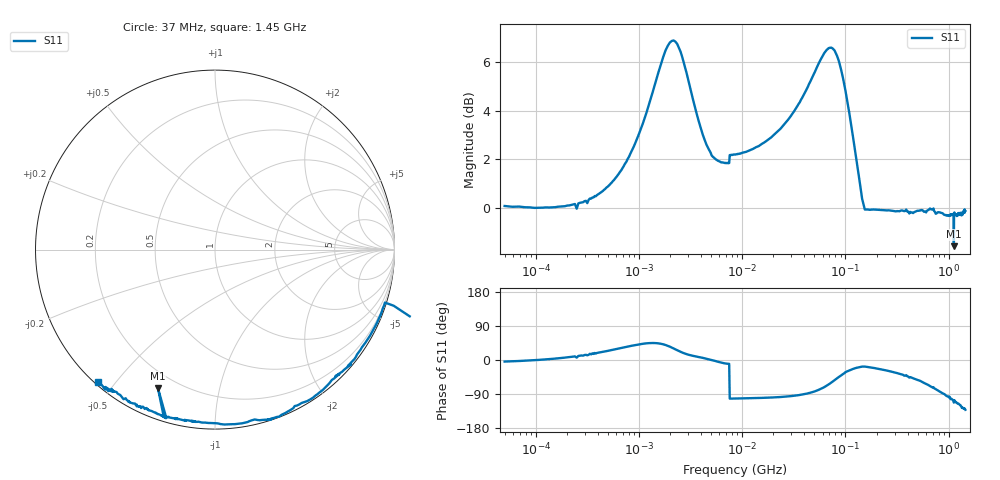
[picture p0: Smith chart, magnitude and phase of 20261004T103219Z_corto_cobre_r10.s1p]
! piloto_corto / corto_cobre / r10
# HZ S RI R 50
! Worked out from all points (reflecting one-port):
!   501 points, 50 kHz to 1.45 GHz, reference 50 ohm
!   lowest |S11| = -1.6 dB at 1.121 GHz (marker M1), VSWR 11.03, Z = 6.54 - j33.1 ohm
!   phase of S11 starts at -4 deg and turns -127 deg over the sweep
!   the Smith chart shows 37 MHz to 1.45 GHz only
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50000  1.006 -0.0719
183000  1.002 0.0995
306500  1.004 0.2444
658000  1.015 0.6134
1180000  1.128 1.088
1630000  1.446 1.342
1990000  1.786 1.263
2440000  1.956 0.8516
3430000  1.606 0.2904
4870000  1.306 0.028
7300000  1.217 -0.2141
7750000  -0.2646 -1.257
8560000  -0.2602 -1.26
1.81e7  -0.2236 -1.366
3.16e7  -0.1218 -1.572
4.87e7  0.1918 -1.863
6.67e7  0.8376 -1.945
7.66e7  1.208 -1.739
8.92e7  1.456 -1.303
9.82e7  1.471 -0.9961
1e8  1.478 -0.9195
1.18e8  1.286 -0.5641
1.36e8  1.085 -0.3718
1.63e8  0.9418 -0.3117
4.06e8  0.7086 -0.6801
6.94e8  0.3041 -0.9455
1.1215e9  -0.3181 -0.7706
1.45e9  -0.6499 -0.7392
